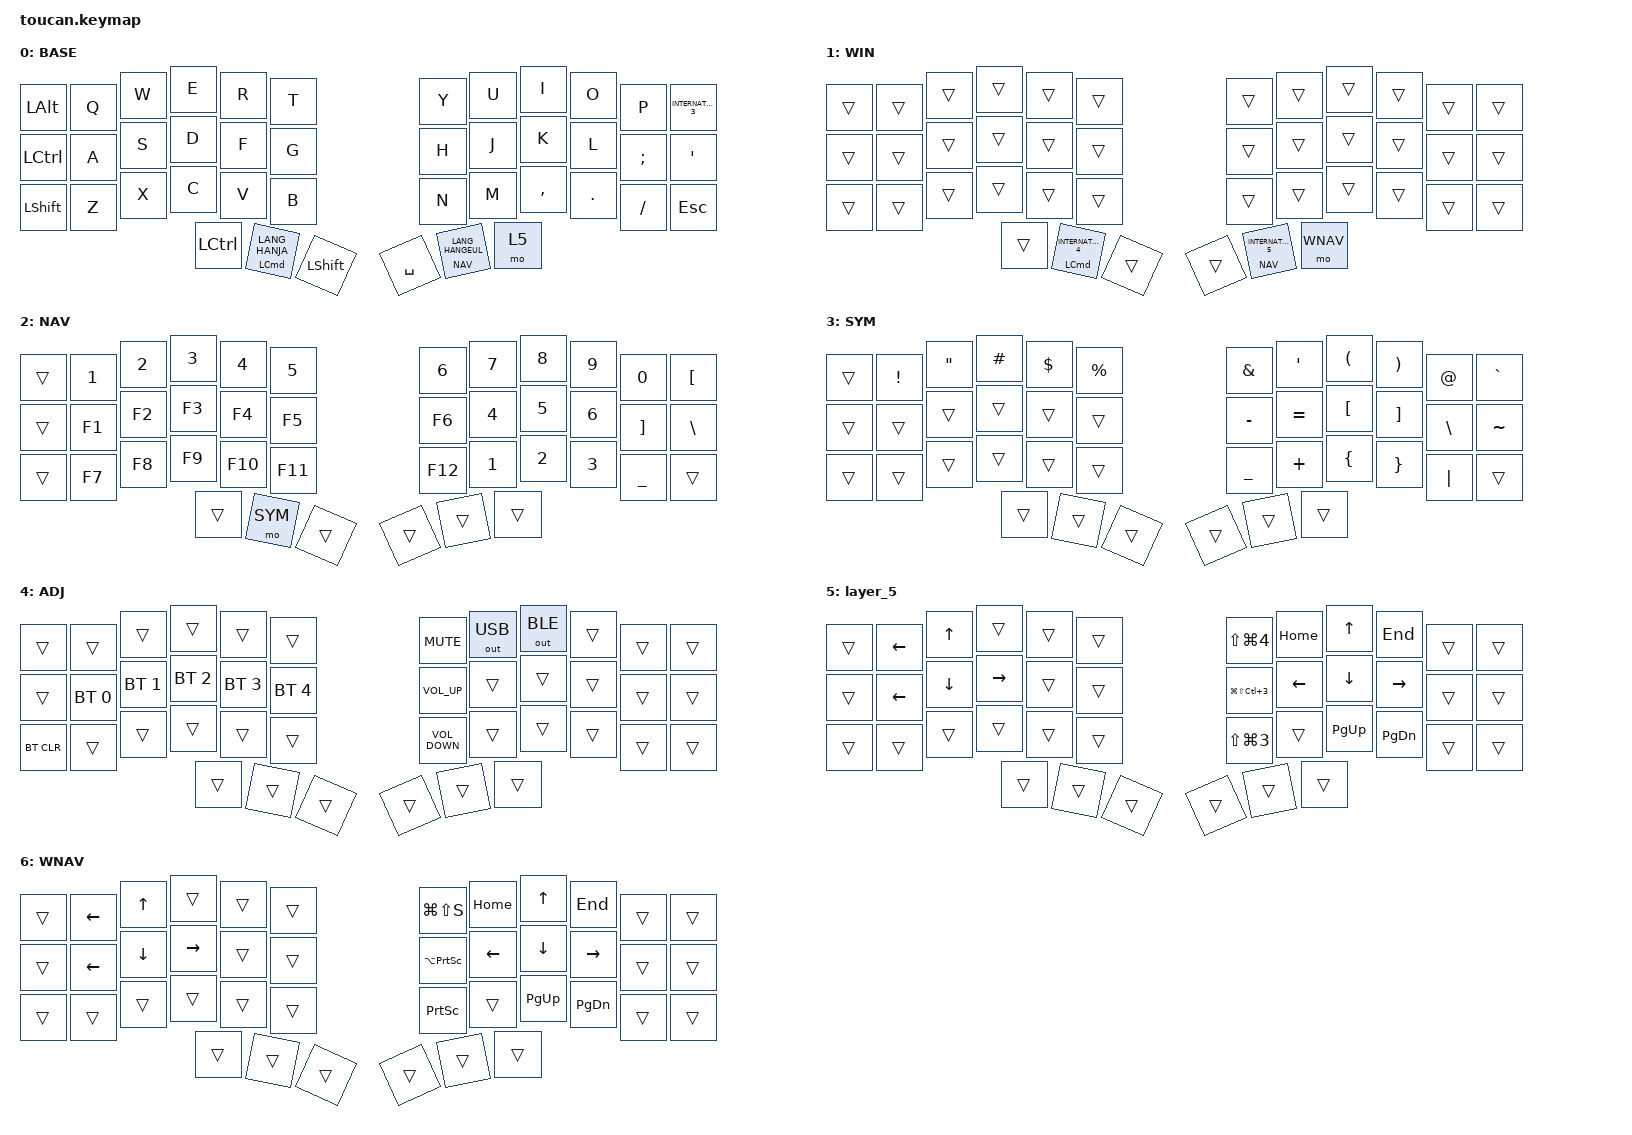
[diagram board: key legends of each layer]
#include <behaviors.dtsi>
#include <dt-bindings/zmk/bt.h>
#include <dt-bindings/zmk/keys.h>
#include <dt-bindings/zmk/outputs.h>
#include <dt-bindings/zmk/pointing.h>

#define BASE 0
#define WIN  1
#define NAV  2
#define SYM  3
#define ADJ  4
#define WNAV 6

/ {
    conditional_layers {
        compatible = "zmk,conditional-layers";

        tri_layer {
            if-layers = <NAV SYM>;
            then-layer = <ADJ>;
        };
    };

    combos {
        compatible = "zmk,combos";

        COMBO_BS {
            bindings = <&kp BACKSPACE>;
            key-positions = <8 9>;
        };

        COMBO_DEL {
            bindings = <&kp DELETE>;
            key-positions = <7 8>;
        };

        COMBO_TAB {
            bindings = <&kp TAB>;
            key-positions = <2 1>;
        };

        COMBO_HYPHEN {
            bindings = <&kp MINUS>;
            key-positions = <10 9>;
        };

        COMBO_ENTER {
            bindings = <&kp ENTER>;
            key-positions = <21 20>;
        };

        COMBO_LEFT_MB {
            bindings = <&mkp LCLK>;
            key-positions = <14 15>;
        };

        COMBO_RIGHT_MB {
            bindings = <&mkp RCLK>;
            key-positions = <15 16>;
        };

        COMBO_MID_MB {
            bindings = <&mkp MCLK>;
            key-positions = <14 16>;
        };

        COMBO_LALT {
            bindings = <&kp LALT>;
            key-positions = <26 27>;
        };

        COMBO_TAB_L {
            bindings = <&kp TAB>;
            key-positions = <28 27>;
        };

        COMBO_LCLK_R {
            bindings = <&mkp LCLK>;
            key-positions = <19 18>;
        };

        COMBO_RCLK_R {
            bindings = <&mkp RCLK>;
            key-positions = <20 19>;
        };

        COMBO_MCLK_R {
            bindings = <&mkp MCLK>;
            key-positions = <18 20>;
        };

        COMBO_MB4_R {
            bindings = <&mkp MB4>;
            key-positions = <31 30>;
        };

        COMBO_MB5_R {
            bindings = <&mkp MB5>;
            key-positions = <32 31>;
        };

        COMBO_CL {
            bindings = <&kp EQUAL>;
            key-positions = <10 11>;
        };

        COMBO_LEFT_KAKKO {
            bindings = <&kp RBKT>;
            key-positions = <21 22>;
        };

        COMBO_RIGHT_KAKKO {
            bindings = <&kp BSLH>;
            key-positions = <22 23>;
        };

        COMBO_F2 {
            bindings = <&kp F2>;
            key-positions = <3 4>;
        };

        COMBO_INT1_UNDER {
            bindings = <&kp INTERNATIONAL_1>;
            key-positions = <32 33>;
        };

        COMBO_MENU {
            bindings = <&kp K_CONTEXT_MENU>;
            key-positions = <19 21>;
        };

        COMBO_ESC {
            bindings = <&kp ESCAPE>;
            key-positions = <24 25>;
        };

        COMBO_ESC2 {
            bindings = <&kp TAB>;
            key-positions = <16 19>;
        };

        COMBO_TOG_WIN {
            bindings = <&tog WIN>;
            key-positions = <0 11>;
        };
    };

    behaviors {
        yen_under: yen_under {
            compatible = "zmk,behavior-mod-morph";
            label = "YEN_UNDER";
            bindings = <&kp INT_YEN>, <&kp INT_RO>;

            #binding-cells = <0>;
            mods = <(MOD_LSFT|MOD_RSFT)>;
        };
    };

    macros {
        hash_macro: hash {
            compatible = "zmk,behavior-macro";
            #binding-cells = <0>;
            bindings = <&kt LSHIFT &kp NUMBER_3 &kt LSHFT>;
            label = "HASH";
        };
    };

    keymap {
        compatible = "zmk,keymap";

        base {
            display-name = "BASE";
            bindings = <
&kp LEFT_ALT  &kp Q  &kp W  &kp E  &kp R  &kp T  &kp Y  &kp U  &kp I  &kp O  &kp P  &kp INTERNATIONAL_3  &kp LCTRL  &kp A  &kp S  &kp D  &kp F  &kp G  &kp H  &kp J  &kp K  &kp L  &kp SEMI  &kp SINGLE_QUOTE  &kp LSHIFT  &kp Z  &kp X  &kp C  &kp V  &kp B  &kp N  &kp M  &kp COMMA  &kp DOT  &kp FSLH  &kp ESCAPE  &kp LCTRL  &mt LEFT_COMMAND LANG_HANJA  &kp LSHIFT  &kp SPACE  &lt NAV LANG_HANGEUL  &mo 5
            >;
        };

        win {
            display-name = "WIN";
            bindings = <
&trans  &trans  &trans  &trans  &trans  &trans  &trans  &trans  &trans  &trans  &trans  &trans  &trans  &trans  &trans  &trans  &trans  &trans  &trans  &trans  &trans  &trans  &trans  &trans  &trans  &trans  &trans  &trans  &trans  &trans  &trans  &trans  &trans  &trans  &trans  &trans  &trans  &mt LEFT_COMMAND INTERNATIONAL_4  &trans  &trans  &lt NAV INTERNATIONAL_5  &mo WNAV
            >;
        };

        nav {
            display-name = "NAV";
            bindings = <
&trans  &kp N1  &kp N2  &kp N3  &kp N4  &kp N5  &kp N6  &kp N7  &kp N8  &kp N9  &kp N0  &kp LBKT  &trans  &kp F1  &kp F2  &kp F3  &kp F4  &kp F5  &kp F6  &kp NUMBER_4  &kp NUMBER_5  &kp NUMBER_6  &kp RBKT  &kp BSLH  &trans  &kp F7  &kp F8  &kp F9  &kp F10  &kp F11  &kp F12  &kp NUMBER_1  &kp NUMBER_2  &kp NUMBER_3  &kp UNDER  &trans  &trans  &mo SYM  &trans  &trans  &trans  &trans
            >;
        };

        sym {
            display-name = "SYM";
            bindings = <
&trans  &kp EXCL  &kp DOUBLE_QUOTES  &kp HASH  &kp DLLR  &kp PRCNT  &kp AMPERSAND  &kp SINGLE_QUOTE  &kp LPAR  &kp RPAR  &kp AT  &kp GRAVE  &trans  &trans  &trans  &trans  &trans  &trans  &kp MINUS  &kp EQUAL  &kp LBKT  &kp RBKT  &kp BSLH  &kp TILDE  &trans  &trans  &trans  &trans  &trans  &trans  &kp UNDER  &kp PLUS  &kp LBRC  &kp RBRC  &kp PIPE  &trans  &trans  &trans  &trans  &trans  &trans  &trans
            >;
        };

        adj {
            display-name = "ADJ";
            bindings = <
&trans  &trans  &trans  &trans  &trans  &trans  &kp C_MUTE  &out OUT_USB  &out OUT_BLE  &trans  &trans  &trans  &trans  &bt BT_SEL 0  &bt BT_SEL 1  &bt BT_SEL 2  &bt BT_SEL 3  &bt BT_SEL 4  &kp C_VOLUME_UP  &trans  &trans  &trans  &trans  &trans  &bt BT_CLR  &trans  &trans  &trans  &trans  &trans  &kp C_VOLUME_DOWN  &trans  &trans  &trans  &trans  &trans  &trans  &trans  &trans  &trans  &trans  &trans
            >;
        };

        layer_5 {
            bindings = <
&trans  &kp LEFT  &kp UP_ARROW  &trans  &trans  &trans  &kp LS(LG(NUMBER_4))  &kp HOME  &kp UP_ARROW  &kp END  &trans  &trans  &trans  &kp LEFT_ARROW  &kp DOWN_ARROW  &kp RIGHT_ARROW  &trans  &trans  &kp LG(LS(LC(NUMBER_3)))  &kp LEFT_ARROW  &kp DOWN_ARROW  &kp RIGHT  &trans  &trans  &trans  &trans  &trans  &trans  &trans  &trans  &kp LS(LG(NUMBER_3))  &trans  &kp PAGE_UP  &kp PAGE_DOWN  &trans  &trans  &trans  &trans  &trans  &trans  &trans  &trans
            >;
        };

        win_nav {
            display-name = "WNAV";
            bindings = <
&trans  &kp LEFT  &kp UP_ARROW  &trans  &trans  &trans  &kp LG(LS(S))  &kp HOME  &kp UP_ARROW  &kp END  &trans  &trans  &trans  &kp LEFT_ARROW  &kp DOWN_ARROW  &kp RIGHT_ARROW  &trans  &trans  &kp LA(PSCRN)  &kp LEFT_ARROW  &kp DOWN_ARROW  &kp RIGHT  &trans  &trans  &trans  &trans  &trans  &trans  &trans  &trans  &kp PSCRN  &trans  &kp PAGE_UP  &kp PAGE_DOWN  &trans  &trans  &trans  &trans  &trans  &trans  &trans  &trans
            >;
        };
    };
};
